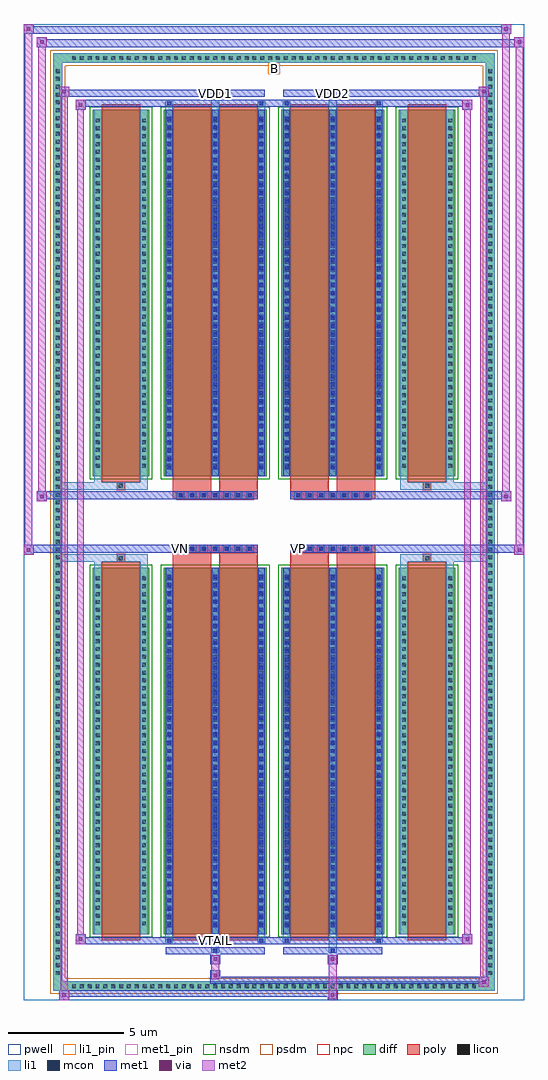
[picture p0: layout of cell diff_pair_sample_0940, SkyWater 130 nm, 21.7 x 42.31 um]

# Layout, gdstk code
import gdstk
lib = gdstk.Library(unit=1e-6, precision=5e-09)
def R(c, l, rs):  # rectangles x0, y0, x1, y1
    for r in rs: c.add(gdstk.rectangle(r[:2], r[2:], *l))
def A(c, l, x, y, w, h, nx, ny, dx, dy):  # array of equal rectangles
    R(c, l, [(x+i*dx, y+j*dy, x+i*dx+w, y+j*dy+h) for i in range(nx) for j in range(ny)])
def P(c, l, *ps):  # polygons
    for p in ps: c.add(gdstk.Polygon(p, *l))
pwell = (64, 44)
diff = (65, 20)
poly = (66, 20)
licon = (66, 44)
li1_pin = (67, 16)
li1 = (67, 20)
mcon = (67, 44)
met1_pin = (68, 16)
met1 = (68, 20)
via = (68, 44)
met2 = (69, 20)
nsdm = (93, 44)
psdm = (94, 20)
npc = (95, 20)

diff_pair_sample_0940 = lib.new_cell('diff_pair_sample_0940')
R(diff_pair_sample_0940, pwell, [(-10.85,-20.72,10.85,21.59), (-8.17,-18.91,-0.01,-0.795), (0.01,-18.91,8.17,-0.795), (-8.17,0.795,-0.01,18.91), (0.01,0.795,8.17,18.91)])
A(diff_pair_sample_0940, diff, -8.875, -20.32, 0.41, 0.41, 52, 2, 0.34, 40.23)
A(diff_pair_sample_0940, diff, -9.58, -19.755, 0.41, 0.41, 1, 116, 0, 0.34)
A(diff_pair_sample_0940, diff, 9.17, -19.755, 0.41, 0.41, 1, 116, 0, 0.34)
R(diff_pair_sample_0940, diff, [(-8.875,-20.32,8.875,-19.91), (-9.58,-19.755,-9.17,19.755), (9.17,-19.755,9.58,19.755), (-7.86,-17.865,-5.41,-1.985), (-4.77,-17.865,-0.32,-1.985), (0.32,-17.865,4.77,-1.985), (5.41,-17.865,7.86,-1.985), (-7.86,1.985,-5.41,17.865), (-4.77,1.985,-0.32,17.865), (0.32,1.985,4.77,17.865), (5.41,1.985,7.86,17.865), (-8.875,19.91,8.875,20.32)])
P(diff_pair_sample_0940, diff, [(9.58,20.32),(-9.58,20.32),(-9.58,-19.91),(-9.17,-19.91),(-9.17,19.91),(9.17,19.91),(9.17,-19.91),(-9.17,-19.91),(-9.58,-19.91),(-9.58,-20.32),(9.58,-20.32)])
A(diff_pair_sample_0940, poly, -4.21, -1.325, 0.33, 0.33, 7, 2, 0.5, 2.32)
A(diff_pair_sample_0940, poly, 0.88, -1.325, 0.33, 0.33, 7, 2, 0.5, 2.32)
R(diff_pair_sample_0940, poly, [(-7.47,-18.12,-5.8,-1.73), (-4.38,-18.12,-2.71,-1.73), (-2.38,-18.12,-0.71,-1.73), (0.71,-18.12,2.38,-1.73), (2.71,-18.12,4.38,-1.73), (5.8,-18.12,7.47,-1.73), (-6.8,-1.73,-6.47,-1.4), (-6.8,-1.73,-6.47,-1.4), (-4.38,-1.73,-2.71,-1.325), (-2.38,-1.73,-0.71,-1.325), (0.71,-1.73,2.38,-1.325), (2.71,-1.73,4.38,-1.325), (6.47,-1.73,6.8,-1.4), (6.47,-1.73,6.8,-1.4), (-4.38,-1.325,-0.71,-0.995), (0.71,-1.325,4.38,-0.995), (-4.38,0.995,-0.71,1.325), (0.71,0.995,4.38,1.325), (-4.38,1.325,-2.71,1.73), (-2.38,1.325,-0.71,1.73), (0.71,1.325,2.38,1.73), (2.71,1.325,4.38,1.73), (-6.8,1.4,-6.47,1.73), (-6.8,1.4,-6.47,1.73), (6.47,1.4,6.8,1.73), (6.47,1.4,6.8,1.73), (-7.47,1.73,-5.8,18.12), (-4.38,1.73,-2.71,18.12), (-2.38,1.73,-0.71,18.12), (0.71,1.73,2.38,18.12), (2.71,1.73,4.38,18.12), (5.8,1.73,7.47,18.12)])
A(diff_pair_sample_0940, licon, -8.755, -20.2, 0.17, 0.17, 52, 2, 0.34, 40.23)
A(diff_pair_sample_0940, licon, -9.46, -19.635, 0.17, 0.17, 1, 116, 0, 0.34)
A(diff_pair_sample_0940, licon, 9.29, -19.635, 0.17, 0.17, 1, 116, 0, 0.34)
A(diff_pair_sample_0940, licon, -7.72, -17.49, 0.17, 0.17, 1, 45, 0, 0.34)
A(diff_pair_sample_0940, licon, -5.72, -17.49, 0.17, 0.17, 1, 45, 0, 0.34)
A(diff_pair_sample_0940, licon, -4.63, -17.49, 0.17, 0.17, 3, 45, 2, 0.34)
A(diff_pair_sample_0940, licon, 0.46, -17.49, 0.17, 0.17, 3, 45, 2, 0.34)
A(diff_pair_sample_0940, licon, 5.55, -17.49, 0.17, 0.17, 1, 45, 0, 0.34)
A(diff_pair_sample_0940, licon, 7.55, -17.49, 0.17, 0.17, 1, 45, 0, 0.34)
A(diff_pair_sample_0940, licon, -4.13, -1.245, 0.17, 0.17, 7, 2, 0.5, 2.32)
A(diff_pair_sample_0940, licon, 0.96, -1.245, 0.17, 0.17, 7, 2, 0.5, 2.32)
A(diff_pair_sample_0940, licon, -7.72, 2.36, 0.17, 0.17, 1, 45, 0, 0.34)
A(diff_pair_sample_0940, licon, -5.72, 2.36, 0.17, 0.17, 1, 45, 0, 0.34)
A(diff_pair_sample_0940, licon, -4.63, 2.36, 0.17, 0.17, 3, 45, 2, 0.34)
A(diff_pair_sample_0940, licon, 0.46, 2.36, 0.17, 0.17, 3, 45, 2, 0.34)
A(diff_pair_sample_0940, licon, 5.55, 2.36, 0.17, 0.17, 1, 45, 0, 0.34)
A(diff_pair_sample_0940, licon, 7.55, 2.36, 0.17, 0.17, 1, 45, 0, 0.34)
R(diff_pair_sample_0940, licon, [(-6.72,-1.65,-6.55,-1.48), (6.55,-1.65,6.72,-1.48), (-6.72,1.48,-6.55,1.65), (6.55,1.48,6.72,1.65)])
R(diff_pair_sample_0940, li1_pin, [(-0.25,19.41,0.25,19.91)])
A(diff_pair_sample_0940, li1, -8.835, -20.28, 0.33, 0.33, 52, 2, 0.34, 40.23)
A(diff_pair_sample_0940, li1, -9.54, -19.715, 0.33, 0.33, 1, 116, 0, 0.34)
A(diff_pair_sample_0940, li1, 9.21, -19.715, 0.33, 0.33, 1, 116, 0, 0.34)
A(diff_pair_sample_0940, li1, -4.71, -17.865, 0.33, 15.88, 3, 2, 2, 19.85)
A(diff_pair_sample_0940, li1, 0.38, -17.865, 0.33, 15.88, 3, 2, 2, 19.85)
A(diff_pair_sample_0940, li1, -7.8, -17.57, 0.33, 0.33, 1, 45, 0, 0.34)
A(diff_pair_sample_0940, li1, -5.8, -17.57, 0.33, 0.33, 1, 45, 0, 0.34)
A(diff_pair_sample_0940, li1, -4.71, -17.57, 0.33, 0.33, 3, 45, 2, 0.34)
A(diff_pair_sample_0940, li1, -4.63, -17.57, 0.17, 0.17, 3, 43, 2, 0.36)
A(diff_pair_sample_0940, li1, -4.63, -17.57, 0.17, 15.29, 3, 2, 2, 19.85)
A(diff_pair_sample_0940, li1, 0.38, -17.57, 0.33, 0.33, 3, 45, 2, 0.34)
A(diff_pair_sample_0940, li1, 0.46, -17.57, 0.17, 0.17, 3, 43, 2, 0.36)
A(diff_pair_sample_0940, li1, 0.46, -17.57, 0.17, 15.29, 3, 2, 2, 19.85)
A(diff_pair_sample_0940, li1, 5.47, -17.57, 0.33, 0.33, 1, 45, 0, 0.34)
A(diff_pair_sample_0940, li1, 7.47, -17.57, 0.33, 0.33, 1, 45, 0, 0.34)
A(diff_pair_sample_0940, li1, -4.21, -1.325, 0.33, 0.33, 7, 2, 0.5, 2.32)
A(diff_pair_sample_0940, li1, 0.88, -1.325, 0.33, 0.33, 7, 2, 0.5, 2.32)
A(diff_pair_sample_0940, li1, -7.8, 2.28, 0.33, 0.33, 1, 45, 0, 0.34)
A(diff_pair_sample_0940, li1, -5.8, 2.28, 0.33, 0.33, 1, 45, 0, 0.34)
A(diff_pair_sample_0940, li1, -4.71, 2.28, 0.33, 0.33, 3, 45, 2, 0.34)
A(diff_pair_sample_0940, li1, -4.63, 2.28, 0.17, 0.17, 3, 43, 2, 0.36)
A(diff_pair_sample_0940, li1, 0.38, 2.28, 0.33, 0.33, 3, 45, 2, 0.34)
A(diff_pair_sample_0940, li1, 0.46, 2.28, 0.17, 0.17, 3, 43, 2, 0.36)
A(diff_pair_sample_0940, li1, 5.47, 2.28, 0.33, 0.33, 1, 45, 0, 0.34)
A(diff_pair_sample_0940, li1, 7.47, 2.28, 0.33, 0.33, 1, 45, 0, 0.34)
R(diff_pair_sample_0940, li1, [(-9.58,-20.32,-9.17,-19.91), (-9.58,-20.32,-9.17,-19.91), (-9.17,-20.32,9.17,-19.91), (9.17,-20.32,9.58,-19.91), (9.17,-20.32,9.58,-19.91), (-9.58,-19.91,-9.17,19.91), (9.17,-19.91,9.58,19.91), (-2.71,-18.67,-2.38,-17.865), (-2.63,-18.67,-2.46,-18.5), (2.38,-18.67,2.71,-17.865), (2.46,-18.67,2.63,-18.5), (-4.71,-18.24,-4.38,-17.865), (-4.63,-18.24,-4.46,-18.07), (-0.71,-18.24,-0.38,-17.865), (-0.63,-18.24,-0.46,-18.07), (0.38,-18.24,0.71,-17.865), (0.46,-18.24,0.63,-18.07), (4.38,-18.24,4.71,-17.865), (4.46,-18.24,4.63,-18.07), (-7.8,-17.865,-7.47,-1.985), (-5.8,-17.865,-5.47,-1.985), (5.47,-17.865,5.8,-1.985), (7.47,-17.865,7.8,-1.985), (-7.8,-1.985,-7.47,-1.4), (-5.8,-1.985,-5.47,-1.4), (5.47,-1.985,5.8,-1.4), (7.47,-1.985,7.8,-1.4), (-9.58,-1.73,-6.8,-1.4), (-7.8,-1.73,-6.8,-1.4), (-6.8,-1.73,-6.47,-1.4), (-6.47,-1.73,-5.47,-1.4), (5.47,-1.73,6.47,-1.4), (6.47,-1.73,6.8,-1.4), (6.47,-1.73,9.58,-1.4), (6.8,-1.73,7.8,-1.4), (-9.58,1.4,-6.8,1.73), (-7.8,1.4,-6.8,1.73), (-7.8,1.4,-7.47,1.985), (-6.8,1.4,-6.47,1.73), (-6.47,1.4,-5.47,1.73), (-5.8,1.4,-5.47,1.985), (5.47,1.4,6.47,1.73), (5.47,1.4,5.8,1.985), (6.47,1.4,6.8,1.73), (6.47,1.4,9.58,1.73), (6.8,1.4,7.8,1.73), (7.47,1.4,7.8,1.985), (-7.8,1.985,-7.47,17.865), (-5.8,1.985,-5.47,17.865), (5.47,1.985,5.8,17.865), (7.47,1.985,7.8,17.865), (-4.71,17.865,-4.38,18.24), (-2.71,17.865,-2.38,18.67), (-0.71,17.865,-0.38,18.24), (0.38,17.865,0.71,18.24), (2.38,17.865,2.71,18.67), (4.38,17.865,4.71,18.24), (-4.63,18.07,-4.46,18.24), (-0.63,18.07,-0.46,18.24), (0.46,18.07,0.63,18.24), (4.46,18.07,4.63,18.24), (-2.63,18.5,-2.46,18.67), (2.46,18.5,2.63,18.67), (-9.58,19.91,-9.17,20.32), (-9.58,19.91,-9.17,20.32), (-9.17,19.91,9.17,20.32), (9.17,19.91,9.58,20.32), (9.17,19.91,9.58,20.32)])
A(diff_pair_sample_0940, mcon, -4.63, -17.57, 0.17, 0.17, 3, 43, 2, 0.36)
A(diff_pair_sample_0940, mcon, 0.46, -17.57, 0.17, 0.17, 3, 43, 2, 0.36)
A(diff_pair_sample_0940, mcon, -4.13, -1.245, 0.17, 0.17, 7, 2, 0.5, 2.32)
A(diff_pair_sample_0940, mcon, 0.96, -1.245, 0.17, 0.17, 7, 2, 0.5, 2.32)
A(diff_pair_sample_0940, mcon, -4.63, 2.28, 0.17, 0.17, 3, 43, 2, 0.36)
A(diff_pair_sample_0940, mcon, 0.46, 2.28, 0.17, 0.17, 3, 43, 2, 0.36)
R(diff_pair_sample_0940, mcon, [(-2.63,-18.67,-2.46,-18.5), (2.46,-18.67,2.63,-18.5), (-4.63,-18.24,-4.46,-18.07), (-0.63,-18.24,-0.46,-18.07), (0.46,-18.24,0.63,-18.07), (4.46,-18.24,4.63,-18.07), (-4.63,18.07,-4.46,18.24), (-0.63,18.07,-0.46,18.24), (0.46,18.07,0.63,18.24), (4.46,18.07,4.63,18.24), (-2.63,18.5,-2.46,18.67), (2.46,18.5,2.63,18.67)])
R(diff_pair_sample_0940, met1_pin, [(-2.68,-18.28,-2.41,-18.01), (-4.18,-1.285,-3.91,-1.015), (0.91,-1.285,1.18,-1.015), (-2.68,18.46,-2.41,18.73), (2.41,18.46,2.68,18.73)])
A(diff_pair_sample_0940, met1, -4.69, -17.865, 0.29, 15.88, 3, 2, 2, 19.85)
A(diff_pair_sample_0940, met1, 0.4, -17.865, 0.29, 15.88, 3, 2, 2, 19.85)
A(diff_pair_sample_0940, met1, -4.69, -17.63, 0.29, 0.29, 3, 43, 2, 0.36)
A(diff_pair_sample_0940, met1, 0.4, -17.63, 0.29, 0.29, 3, 43, 2, 0.36)
A(diff_pair_sample_0940, met1, -4.19, -1.305, 0.29, 0.29, 7, 2, 0.5, 2.32)
A(diff_pair_sample_0940, met1, 0.9, -1.305, 0.29, 0.29, 7, 2, 0.5, 2.32)
A(diff_pair_sample_0940, met1, -4.69, 2.22, 0.29, 0.29, 3, 43, 2, 0.36)
A(diff_pair_sample_0940, met1, 0.4, 2.22, 0.29, 0.29, 3, 43, 2, 0.36)
R(diff_pair_sample_0940, met1, [(-9.31,-20.72,-8.88,-20.29), (2.33,-20.72,2.76,-20.29), (-9.31,-20.58,2.76,-20.29), (8.88,-20.15,9.31,-19.72), (-2.76,-20.01,9.31,-19.72), (-2.76,-19.87,-2.33,-19.44), (-2.76,-19.16,-2.33,-18.73), (2.33,-19.16,2.76,-18.73), (-4.69,-18.73,-0.4,-18.44), (-2.69,-18.73,-2.4,-18.44), (0.4,-18.73,4.69,-18.44), (2.4,-18.73,2.69,-18.44), (-8.6,-18.3,-8.17,-17.87), (-8.6,-18.3,-4.69,-18.01), (-4.69,-18.3,-4.4,-18.01), (-4.69,-18.3,-0.4,-18.01), (-0.69,-18.3,-0.4,-18.01), (-0.4,-18.3,0.4,-18.01), (0.4,-18.3,0.69,-18.01), (0.4,-18.3,4.69,-18.01), (4.4,-18.3,4.69,-18.01), (4.69,-18.3,8.6,-18.01), (8.17,-18.3,8.6,-17.87), (-10.85,-1.425,-10.42,-0.995), (10.42,-1.425,10.85,-0.995), (-10.85,-1.325,-0.71,-0.995), (-4.38,-1.325,-0.71,-0.995), (0.71,-1.325,4.38,-0.995), (0.71,-1.325,10.85,-0.995), (-10.28,0.895,-9.85,1.325), (9.85,0.895,10.28,1.325), (-10.28,0.995,-4.38,1.325), (-4.38,0.995,-0.71,1.325), (0.71,0.995,4.38,1.325), (4.38,0.995,10.28,1.325), (-8.6,17.87,-8.17,18.3), (8.17,17.87,8.6,18.3), (-8.6,18.01,-4.69,18.3), (-4.69,18.01,-4.4,18.3), (-4.69,18.01,-0.4,18.3), (-0.69,18.01,-0.4,18.3), (-0.4,18.01,0.4,18.3), (0.4,18.01,0.69,18.3), (0.4,18.01,4.69,18.3), (4.4,18.01,4.69,18.3), (4.69,18.01,8.6,18.3), (-9.31,18.44,-8.88,18.87), (-9.31,18.44,-4.69,18.73), (-4.69,18.44,-0.4,18.73), (-2.69,18.44,-2.4,18.73), (0.4,18.44,4.69,18.73), (2.4,18.44,2.69,18.73), (4.69,18.44,9.31,18.73), (8.88,18.44,9.31,18.87), (-10.28,20.59,-9.85,21.02), (-10.28,20.59,-8.17,20.92), (-8.17,20.59,8.17,20.92), (8.17,20.59,10.85,20.92), (10.42,20.59,10.85,21.02), (-10.85,21.16,-10.42,21.59), (-10.85,21.16,-8.17,21.49), (-8.17,21.16,8.17,21.49), (8.17,21.16,10.28,21.49), (9.85,21.16,10.28,21.59)])
R(diff_pair_sample_0940, via, [(-9.17,-20.58,-9.02,-20.43), (2.47,-20.58,2.62,-20.43), (9.02,-20.01,9.17,-19.86), (-2.62,-19.73,-2.47,-19.58), (-2.62,-19.02,-2.47,-18.87), (2.47,-19.02,2.62,-18.87), (-8.46,-18.16,-8.31,-18.01), (8.31,-18.16,8.46,-18.01), (-10.71,-1.285,-10.56,-1.135), (10.56,-1.285,10.71,-1.135), (-10.14,1.035,-9.99,1.185), (9.99,1.035,10.14,1.185), (-8.46,18.01,-8.31,18.16), (8.31,18.01,8.46,18.16), (-9.17,18.58,-9.02,18.73), (9.02,18.58,9.17,18.73), (-10.14,20.73,-9.99,20.88), (10.56,20.73,10.71,20.88), (-10.71,21.3,-10.56,21.45), (9.99,21.3,10.14,21.45)])
R(diff_pair_sample_0940, met2, [(-9.31,-20.72,-8.88,-20.29), (-9.24,-20.72,-8.95,18.87), (-8.95,-20.72,-8.88,-20.29), (-9.26,-20.67,-8.93,-20.34), (2.38,-20.67,2.71,-20.34), (2.38,-20.34,2.71,-19.11), (8.88,-20.15,9.31,-19.72), (8.95,-20.15,9.24,18.87), (9.24,-20.15,9.31,-19.72), (8.93,-20.1,9.26,-19.77), (-2.71,-19.82,-2.38,-19.49), (-2.71,-19.49,-2.38,-19.11), (-2.71,-19.11,-2.38,-18.78), (2.38,-19.11,2.71,-18.78), (-8.6,-18.3,-8.17,-17.87), (-8.53,-18.3,-8.24,18.3), (-8.24,-18.3,-8.17,-17.87), (8.17,-18.3,8.6,-17.87), (8.24,-18.3,8.53,18.3), (8.53,-18.3,8.6,-17.87), (-8.55,-18.25,-8.22,-17.92), (8.22,-18.25,8.55,-17.92), (-10.85,-1.425,-10.42,-0.995), (-10.8,-1.425,-10.47,21.59), (-10.47,-1.425,-10.42,-0.995), (10.42,-1.425,10.85,-0.995), (10.47,-1.425,10.8,21.02), (10.8,-1.425,10.85,-0.995), (-10.8,-1.375,-10.47,-1.045), (10.47,-1.375,10.8,-1.045), (-10.28,0.895,-9.85,1.325), (-10.23,0.895,-9.9,21.02), (-9.9,0.895,-9.85,1.325), (9.85,0.895,10.28,1.325), (9.9,0.895,10.23,21.59), (10.23,0.895,10.28,1.325), (-10.23,0.945,-9.9,1.275), (9.9,0.945,10.23,1.275), (-8.6,17.87,-8.17,18.3), (-8.24,17.87,-8.17,18.3), (8.17,17.87,8.6,18.3), (8.53,17.87,8.6,18.3), (-8.55,17.92,-8.22,18.25), (8.22,17.92,8.55,18.25), (-9.31,18.44,-8.88,18.87), (-8.95,18.44,-8.88,18.87), (8.88,18.44,9.31,18.87), (9.24,18.44,9.31,18.87), (-9.26,18.49,-8.93,18.82), (8.93,18.49,9.26,18.82), (-10.28,20.59,-9.85,21.02), (-9.9,20.59,-9.85,21.02), (10.42,20.59,10.85,21.02), (10.8,20.59,10.85,21.02), (-10.23,20.64,-9.9,20.97), (10.47,20.64,10.8,20.97), (-10.85,21.16,-10.42,21.59), (-10.47,21.16,-10.42,21.59), (9.85,21.16,10.28,21.59), (10.23,21.16,10.28,21.59), (-10.8,21.21,-10.47,21.54), (9.9,21.21,10.23,21.54)])
R(diff_pair_sample_0940, nsdm, [(-7.99,-17.995,-5.28,-1.855), (-4.9,-17.995,-0.19,-1.855), (0.19,-17.995,4.9,-1.855), (5.28,-17.995,7.99,-1.855), (-7.99,1.855,-5.28,17.995), (-4.9,1.855,-0.19,17.995), (0.19,1.855,4.9,17.995), (5.28,1.855,7.99,17.995)])
P(diff_pair_sample_0940, psdm, [(9.71,20.45),(-9.71,20.45),(-9.71,-19.78),(-9.04,-19.78),(-9.04,19.78),(9.04,19.78),(9.04,-19.78),(-9.04,-19.78),(-9.71,-19.78),(-9.71,-20.45),(9.71,-20.45)])
A(diff_pair_sample_0940, npc, -4.23, -1.345, 0.37, 0.37, 7, 2, 0.5, 2.32)
A(diff_pair_sample_0940, npc, 0.86, -1.345, 0.37, 0.37, 7, 2, 0.5, 2.32)
R(diff_pair_sample_0940, npc, [(-6.82,-1.75,-6.45,-1.38), (6.45,-1.75,6.82,-1.38), (-4.23,-1.345,-3.36,-0.975), (-4.23,-1.345,-3.36,-0.975), (-3.73,-1.345,-2.86,-0.975), (-3.73,-1.345,-2.86,-0.975), (-3.23,-1.345,-2.36,-0.975), (-3.23,-1.345,-2.36,-0.975), (-2.73,-1.345,-1.86,-0.975), (-2.73,-1.345,-1.86,-0.975), (-2.23,-1.345,-1.36,-0.975), (-2.23,-1.345,-1.36,-0.975), (-1.73,-1.345,-0.86,-0.975), (-1.73,-1.345,-0.86,-0.975), (0.86,-1.345,1.73,-0.975), (0.86,-1.345,1.73,-0.975), (1.36,-1.345,2.23,-0.975), (1.36,-1.345,2.23,-0.975), (1.86,-1.345,2.73,-0.975), (1.86,-1.345,2.73,-0.975), (2.36,-1.345,3.23,-0.975), (2.36,-1.345,3.23,-0.975), (2.86,-1.345,3.73,-0.975), (2.86,-1.345,3.73,-0.975), (3.36,-1.345,4.23,-0.975), (3.36,-1.345,4.23,-0.975), (-4.23,0.975,-3.36,1.345), (-4.23,0.975,-3.36,1.345), (-3.73,0.975,-2.86,1.345), (-3.73,0.975,-2.86,1.345), (-3.23,0.975,-2.36,1.345), (-3.23,0.975,-2.36,1.345), (-2.73,0.975,-1.86,1.345), (-2.73,0.975,-1.86,1.345), (-2.23,0.975,-1.36,1.345), (-2.23,0.975,-1.36,1.345), (-1.73,0.975,-0.86,1.345), (-1.73,0.975,-0.86,1.345), (0.86,0.975,1.73,1.345), (0.86,0.975,1.73,1.345), (1.36,0.975,2.23,1.345), (1.36,0.975,2.23,1.345), (1.86,0.975,2.73,1.345), (1.86,0.975,2.73,1.345), (2.36,0.975,3.23,1.345), (2.36,0.975,3.23,1.345), (2.86,0.975,3.73,1.345), (2.86,0.975,3.73,1.345), (3.36,0.975,4.23,1.345), (3.36,0.975,4.23,1.345), (-6.82,1.38,-6.45,1.75), (6.45,1.38,6.82,1.75)])
diff_pair_sample_0940.add(gdstk.Label('VTAIL', (-2.545,-18.145), layer=68, texttype=5))
diff_pair_sample_0940.add(gdstk.Label('VN', (-4.045,-1.15), layer=68, texttype=5))
diff_pair_sample_0940.add(gdstk.Label('VP', (1.045,-1.15), layer=68, texttype=5))
diff_pair_sample_0940.add(gdstk.Label('B', (0,19.66), layer=67, texttype=5))
diff_pair_sample_0940.add(gdstk.Label('VDD2', (2.545,18.595), layer=68, texttype=5))
diff_pair_sample_0940.add(gdstk.Label('VDD1', (-2.545,18.595), layer=68, texttype=5))

lib.write_gds('diff_pair_sample_0940.gds')
